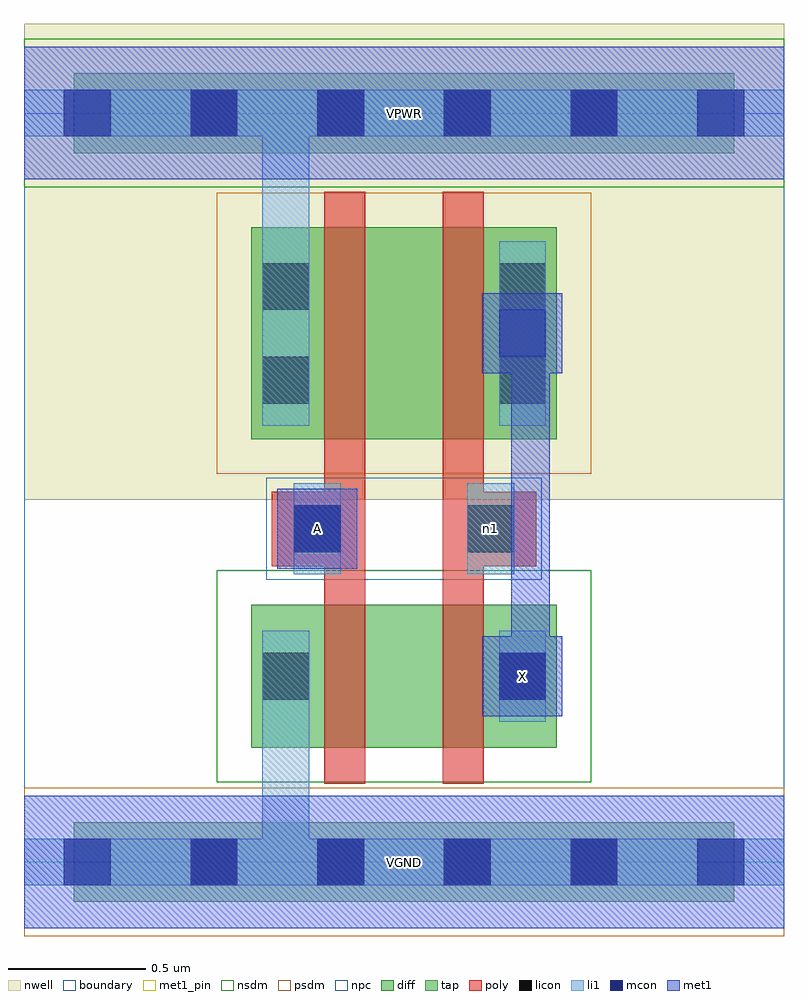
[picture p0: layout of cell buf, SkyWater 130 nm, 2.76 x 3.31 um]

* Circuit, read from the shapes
.subckt buf A VGND VPWR X n1
XM1 n2 A VGND VGND sky130_fd_pr__nfet_01v8 w=0.52 l=0.15
XM2 X n1 n2 VGND sky130_fd_pr__nfet_01v8 w=0.52 l=0.15
XM3 n3 A VPWR VPWR sky130_fd_pr__pfet_01v8 w=0.77 l=0.15
XM4 X n1 n3 VPWR sky130_fd_pr__pfet_01v8 w=0.77 l=0.15
.ends

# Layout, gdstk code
import gdstk
lib = gdstk.Library(unit=1e-6, precision=1e-09)
def R(c, l, rs):  # rectangles x0, y0, x1, y1
    for r in rs: c.add(gdstk.rectangle(r[:2], r[2:], *l))
def A(c, l, x, y, w, h, nx, ny, dx, dy):  # array of equal rectangles
    R(c, l, [(x+i*dx, y+j*dy, x+i*dx+w, y+j*dy+h) for i in range(nx) for j in range(ny)])
nwell = (64, 20)
diff = (65, 20)
tap = (65, 44)
poly = (66, 20)
licon = (66, 44)
li1 = (67, 20)
mcon = (67, 44)
met1_pin = (68, 16)
met1 = (68, 20)
nsdm = (93, 44)
psdm = (94, 20)
npc = (95, 20)
boundary = (235, 4)

buf = lib.new_cell('buf')
R(buf, nwell, [(0,1.315,2.76,3.045)])
R(buf, diff, [(0.825,0.415,1.935,0.935), (0.825,1.535,1.935,2.305)])
R(buf, tap, [(0.18,-0.145,2.58,0.145), (0.18,2.575,2.58,2.865)])
R(buf, poly, [(1.09,0.285,1.24,2.435), (1.52,0.285,1.67,2.435), (0.9,1.075,1.23,1.345), (1.53,1.075,1.86,1.345)])
A(buf, licon, 0.605, -0.085, 0.17, 0.17, 4, 2, 0.46, 2.72)
R(buf, licon, [(0.865,0.59,1.035,0.76), (1.725,0.59,1.895,0.76), (0.98,1.125,1.15,1.295), (1.61,1.125,1.78,1.295), (0.865,1.665,1.035,1.835), (1.725,1.665,1.895,1.835), (0.865,2.005,1.035,2.175), (1.725,2.005,1.895,2.175)])
R(buf, li1, [(0,-0.085,2.76,0.085), (0.865,-0.085,1.035,0.84), (0.865,0.51,1.035,0.84), (1.725,0.51,1.895,0.84), (0.98,1.045,1.15,1.375), (1.61,1.045,1.78,1.375), (0.865,1.585,1.035,2.255), (0.865,1.585,1.035,2.805), (1.725,1.585,1.895,2.255), (0,2.635,2.76,2.805)])
A(buf, mcon, 0.145, -0.085, 0.17, 0.17, 6, 2, 0.46, 2.72)
R(buf, mcon, [(1.725,0.59,1.895,0.76), (0.98,1.125,1.15,1.295), (1.725,1.835,1.895,2.005)])
R(buf, met1_pin, [(0,-0.24,2.76,0.24), (1.665,0.53,1.955,0.82), (0.92,1.065,1.21,1.355), (0,2.48,2.76,2.96)])
R(buf, met1, [(0,-0.24,2.76,0.24), (1.665,0.53,1.955,0.82), (1.77,0.62,1.91,0.76), (1.77,0.62,1.91,2.025), (0.92,1.065,1.21,1.355), (1.665,1.775,1.955,2.065), (1.77,1.885,1.91,2.025), (0,2.48,2.76,2.96)])
R(buf, nsdm, [(0.7,0.29,2.06,1.06), (0,2.45,2.76,2.99)])
R(buf, psdm, [(0,-0.27,2.76,0.27), (0.7,1.41,2.06,2.43)])
R(buf, npc, [(0.88,1.025,1.88,1.395)])
R(buf, boundary, [(0,0,2.76,2.72)])
buf.add(gdstk.Label('n1', (1.695,1.21), layer=67, texttype=5))
buf.add(gdstk.Label('A', (1.065,1.21), layer=68, texttype=5))
buf.add(gdstk.Label('X', (1.81,0.675), layer=68, texttype=5))
buf.add(gdstk.Label('VPWR', (1.38,2.72), layer=68, texttype=5))
buf.add(gdstk.Label('VGND', (1.38,0), layer=68, texttype=5))
buf.add(gdstk.Label('A', (1.065,1.21), layer=68, texttype=16))
buf.add(gdstk.Label('X', (1.81,0.675), layer=68, texttype=16))
buf.add(gdstk.Label('VPWR', (1.38,2.72), layer=68, texttype=16))
buf.add(gdstk.Label('VGND', (1.38,0), layer=68, texttype=16))

lib.write_gds('buf.gds')
